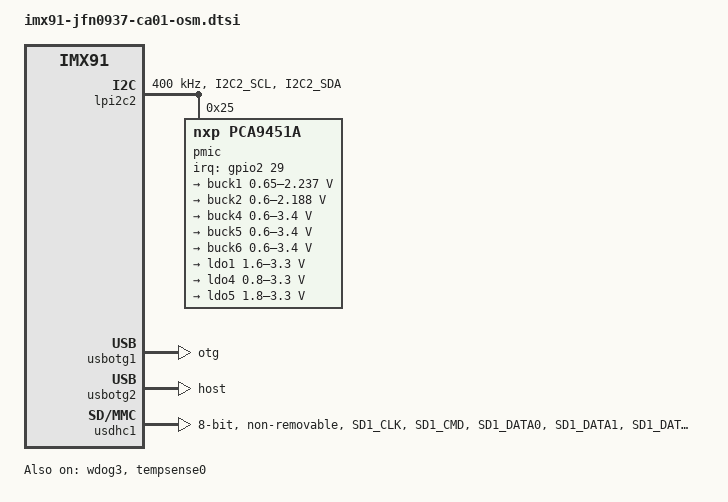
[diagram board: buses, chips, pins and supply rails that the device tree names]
// SPDX-License-Identifier: (GPL-2.0+ OR MIT)
/*
 * Copyright 2022 NXP
 */

#include <dt-bindings/usb/pd.h>

/ {

};

//=============================================================================
//=== CAN1
//=============================================================================
&flexcan1 {
	pinctrl-names = "default";
	pinctrl-0 = <&pinctrl_flexcan1>;
	status = "disabled";
};

//=============================================================================
//=== CAN2
//=============================================================================
&flexcan2 {
	status = "disabled";
};

//=============================================================================
//=== EQOS
//=============================================================================
&eqos {
	status = "disabled";
};

//=============================================================================
//=== FEC
//=============================================================================
&fec {
	status = "disabled";
};

//=============================================================================
//=== I2C1
//=============================================================================
&lpi2c1 {
	#address-cells = <1>;
	#size-cells = <0>;
	clock-frequency = <400000>;
	pinctrl-names = "default","sleep";
	pinctrl-0 = <&pinctrl_lpi2c1>;
	pinctrl-1 = <&pinctrl_lpi2c1>;
	status = "disabled";	
};

//=============================================================================
//=== I2C2
//=============================================================================
&lpi2c2 {
	#address-cells = <1>;
	#size-cells = <0>;
	clock-frequency = <400000>;
	pinctrl-names = "default","sleep";
	pinctrl-0 = <&pinctrl_lpi2c2>;
	pinctrl-1 = <&pinctrl_lpi2c2>;
	status = "okay";

	pmic@25 {
		compatible = "nxp,pca9451a";
		reg = <0x25>;
		pinctrl-names = "default";
		pinctrl-0 = <&pinctrl_pca9451>;
		interrupt-parent = <&gpio2>;
		interrupts = <29 IRQ_TYPE_EDGE_FALLING>;

		regulators {
			buck1: BUCK1 {
				regulator-name = "BUCK1";
				regulator-min-microvolt = <650000>;
				regulator-max-microvolt = <2237500>;
				regulator-boot-on;
				regulator-always-on;
				regulator-ramp-delay = <3125>;
			};

			buck2: BUCK2 {
				regulator-name = "BUCK2";
				regulator-min-microvolt = <600000>;
				regulator-max-microvolt = <2187500>;
				regulator-boot-on;
				regulator-always-on;
				regulator-ramp-delay = <3125>;
			};

			buck4: BUCK4{
				regulator-name = "BUCK4";
				regulator-min-microvolt = <600000>;
				regulator-max-microvolt = <3400000>;
				regulator-boot-on;
				regulator-always-on;
			};

			buck5: BUCK5{
				regulator-name = "BUCK5";
				regulator-min-microvolt = <600000>;
				regulator-max-microvolt = <3400000>;
				regulator-boot-on;
				regulator-always-on;
			};

			buck6: BUCK6 {
				regulator-name = "BUCK6";
				regulator-min-microvolt = <600000>;
				regulator-max-microvolt = <3400000>;
				regulator-boot-on;
				regulator-always-on;
			};

			ldo1: LDO1 {
				regulator-name = "LDO1";
				regulator-min-microvolt = <1600000>;
				regulator-max-microvolt = <3300000>;
				regulator-boot-on;
				regulator-always-on;
			};

			ldo4: LDO4 {
				regulator-name = "LDO4";
				regulator-min-microvolt = <800000>;
				regulator-max-microvolt = <3300000>;
				regulator-boot-on;
				regulator-always-on;
			};

			ldo5: LDO5 {
				regulator-name = "LDO5";
				regulator-min-microvolt = <1800000>;
				regulator-max-microvolt = <3300000>;
				regulator-boot-on;
				regulator-always-on;
			};
		};
	};

};

//=============================================================================
//=== I2C5
//=============================================================================
&lpi2c5 {
	#address-cells = <1>;
	#size-cells = <0>;
	clock-frequency = <400000>;
	pinctrl-names = "default","sleep";
	pinctrl-0 = <&pinctrl_lpi2c5>;
	pinctrl-1 = <&pinctrl_lpi2c5>;
	status = "disabled";
};

//=============================================================================
//=== SPI1
//=============================================================================
&lpspi1 {
	status = "disabled";
};

//=============================================================================
//=== SPI6
//=============================================================================
&lpspi6 {
	status = "disabled";
};

//=============================================================================
//=== UART1 console
//=============================================================================
&lpuart1 { /* console */
	pinctrl-names = "default";
	pinctrl-0 = <&pinctrl_uart1>;
	status = "disabled";
};

//=============================================================================
//=== UART2
//=============================================================================
&lpuart2 { 
	status = "disabled";
};

//=============================================================================
//=== UART3
//=============================================================================
&lpuart3 { 
	status = "disabled";
};

//=============================================================================
//=== UART6
//=============================================================================
&lpuart6 { 
	status = "disabled";
};

//=============================================================================
//=== UART7
//=============================================================================
&lpuart7 { 
	status = "disabled";
};

//=============================================================================
//=== USB1
//=============================================================================
&usbotg1 {
	dr_mode = "otg";
	hnp-disable;
	srp-disable;
	adp-disable;
	usb-role-switch;
	disable-over-current;
	samsung,picophy-pre-emp-curr-control = <3>;
	samsung,picophy-dc-vol-level-adjust = <7>;
	status = "okay";
};

//=============================================================================
//=== USB2
//=============================================================================
&usbotg2 {
	dr_mode = "host";
	hnp-disable;
	srp-disable;
	adp-disable;
	usb-role-switch;
	disable-over-current;
	samsung,picophy-pre-emp-curr-control = <3>;
	samsung,picophy-dc-vol-level-adjust = <7>;
	status = "okay";
};

//=============================================================================
//=== USDHC1 eMMC
//=============================================================================
&usdhc1 {
	pinctrl-names = "default", "state_100mhz", "state_200mhz";
	pinctrl-0 = <&pinctrl_usdhc1>;
	pinctrl-1 = <&pinctrl_usdhc1_100mhz>;
	pinctrl-2 = <&pinctrl_usdhc1_200mhz>;
	bus-width = <8>;
	non-removable;
	status = "okay";
};

//=============================================================================
//=== USDHC2 uSD
//=============================================================================
&usdhc2 {
	status = "disabled";
};

//=============================================================================
//=== USDHC3
//=============================================================================
&usdhc3 {
	status = "disabled";
};

//=============================================================================
//=== WDOG3
//=============================================================================
&wdog3 {
	status = "okay";
};

//=============================================================================
//=== TEMPERATURE SENS
//=============================================================================
&tempsense0 {
	status = "okay";
};


//=============================================================================
//#############################################################################
//=== PINMUX
//#############################################################################
//=============================================================================
&iomuxc {

	pinctrl_pca9451: pca9451grp {
		fsl,pins = <
			MX91_PAD_GPIO_IO29__GPIO2_IO29								0x131e
		>;
	};

	pinctrl_flexcan1: flexcan1grp {
		fsl,pins = <
		    MX91_PAD_PDM_BIT_STREAM0__CAN1_RX          					0x0000051e
            MX91_PAD_PDM_CLK__CAN1_TX									0x0000051e
		>;
	};

	pinctrl_lpi2c1: lpi2c1grp {
		fsl,pins = <
			MX91_PAD_I2C1_SCL__LPI2C1_SCL								0x40000b9e
			MX91_PAD_I2C1_SDA__LPI2C1_SDA								0x40000b9e
		>;
	};

	pinctrl_lpi2c2: lpi2c2grp {
		fsl,pins = <
			MX91_PAD_I2C2_SCL__LPI2C2_SCL								0x40000b9e
			MX91_PAD_I2C2_SDA__LPI2C2_SDA								0x40000b9e
		>;
	};

	pinctrl_lpi2c5: lpi2c5grp {
		fsl,pins = <
			MX91_PAD_GPIO_IO23__LPI2C5_SCL								0x40000b9e
			MX91_PAD_GPIO_IO22__LPI2C5_SDA								0x40000b9e
		>;
	};
	
	pinctrl_uart1: uart1grp {
		fsl,pins = <
			MX91_PAD_UART1_RXD__LPUART1_RX								0x31e
			MX91_PAD_UART1_TXD__LPUART1_TX								0x31e
		>;
	};

	/* need to config the SION for data and cmd pad, refer to ERR052021 */
	pinctrl_usdhc1: usdhc1grp {
		fsl,pins = <
			MX91_PAD_SD1_CLK__USDHC1_CLK								0x1582
			MX91_PAD_SD1_CMD__USDHC1_CMD								0x40001382
			MX91_PAD_SD1_DATA0__USDHC1_DATA0							0x40001382
			MX91_PAD_SD1_DATA1__USDHC1_DATA1							0x40001382
			MX91_PAD_SD1_DATA2__USDHC1_DATA2							0x40001382
			MX91_PAD_SD1_DATA3__USDHC1_DATA3							0x40001382
			MX91_PAD_SD1_DATA4__USDHC1_DATA4							0x40001382
			MX91_PAD_SD1_DATA5__USDHC1_DATA5							0x40001382
			MX91_PAD_SD1_DATA6__USDHC1_DATA6							0x40001382
			MX91_PAD_SD1_DATA7__USDHC1_DATA7							0x40001382
			MX91_PAD_SD1_STROBE__USDHC1_STROBE							0x1582
		>;
	};

	/* need to config the SION for data and cmd pad, refer to ERR052021 */
	pinctrl_usdhc1_100mhz: usdhc1-100mhzgrp {
		fsl,pins = <
			MX91_PAD_SD1_CLK__USDHC1_CLK								0x158e
			MX91_PAD_SD1_CMD__USDHC1_CMD								0x4000138e
			MX91_PAD_SD1_DATA0__USDHC1_DATA0							0x4000138e
			MX91_PAD_SD1_DATA1__USDHC1_DATA1							0x4000138e
			MX91_PAD_SD1_DATA2__USDHC1_DATA2							0x4000138e
			MX91_PAD_SD1_DATA3__USDHC1_DATA3							0x4000138e
			MX91_PAD_SD1_DATA4__USDHC1_DATA4							0x4000138e
			MX91_PAD_SD1_DATA5__USDHC1_DATA5							0x4000138e
			MX91_PAD_SD1_DATA6__USDHC1_DATA6							0x4000138e
			MX91_PAD_SD1_DATA7__USDHC1_DATA7							0x4000138e
			MX91_PAD_SD1_STROBE__USDHC1_STROBE							0x158e
		>;
	};

	/* need to config the SION for data and cmd pad, refer to ERR052021 */
	pinctrl_usdhc1_200mhz: usdhc1-200mhzgrp {
		fsl,pins = <
			MX91_PAD_SD1_CLK__USDHC1_CLK								0x15fe
			MX91_PAD_SD1_CMD__USDHC1_CMD								0x400013fe
			MX91_PAD_SD1_DATA0__USDHC1_DATA0							0x400013fe
			MX91_PAD_SD1_DATA1__USDHC1_DATA1							0x400013fe
			MX91_PAD_SD1_DATA2__USDHC1_DATA2							0x400013fe
			MX91_PAD_SD1_DATA3__USDHC1_DATA3							0x400013fe
			MX91_PAD_SD1_DATA4__USDHC1_DATA4							0x400013fe
			MX91_PAD_SD1_DATA5__USDHC1_DATA5							0x400013fe
			MX91_PAD_SD1_DATA6__USDHC1_DATA6							0x400013fe
			MX91_PAD_SD1_DATA7__USDHC1_DATA7							0x400013fe
			MX91_PAD_SD1_STROBE__USDHC1_STROBE							0x15fe
		>;
	};
	
};
